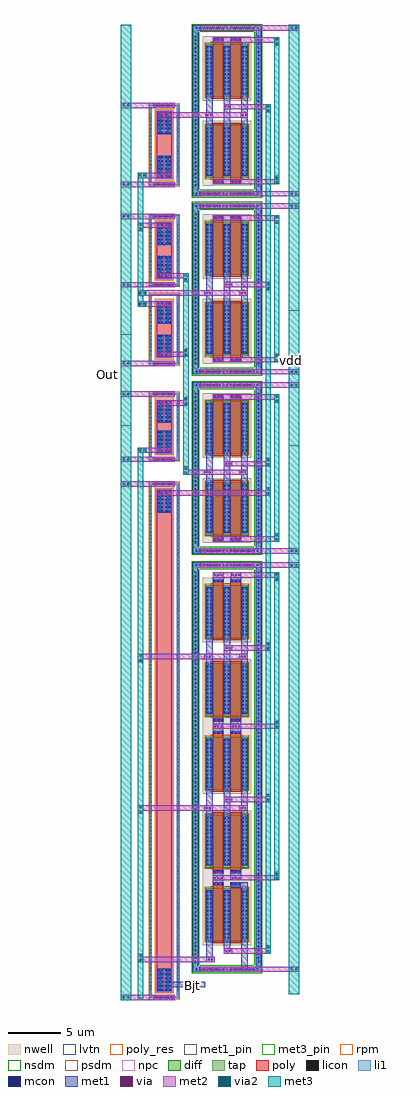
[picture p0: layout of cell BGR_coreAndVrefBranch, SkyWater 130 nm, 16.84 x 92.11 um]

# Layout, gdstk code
from math import pi, radians
import gdstk
lib = gdstk.Library(unit=1e-6, precision=5e-09)
def R(c, l, rs):  # rectangles x0, y0, x1, y1
    for r in rs: c.add(gdstk.rectangle(r[:2], r[2:], *l))
def A(c, l, x, y, w, h, nx, ny, dx, dy):  # array of equal rectangles
    R(c, l, [(x+i*dx, y+j*dy, x+i*dx+w, y+j*dy+h) for i in range(nx) for j in range(ny)])
def P(c, l, *ps):  # polygons
    for p in ps: c.add(gdstk.Polygon(p, *l))
nwell = (64, 20)
diff = (65, 20)
tap = (65, 44)
poly_res = (66, 13)
poly = (66, 20)
licon = (66, 44)
li1 = (67, 20)
mcon = (67, 44)
met1_pin = (68, 16)
met1 = (68, 20)
via = (68, 44)
met2 = (69, 20)
via2 = (69, 44)
met3_pin = (70, 16)
met3 = (70, 20)
rpm = (86, 20)
nsdm = (93, 44)
psdm = (94, 20)
npc = (95, 20)
lvtn = (125, 44)

res_poly_5 = lib.new_cell('res_poly$5')
R(res_poly_5, tap, [(-1.355,-24.31,1.355,-24.14), (-1.355,-24.14,-1.185,24.14), (1.185,-24.14,1.355,24.14), (-1.355,24.14,1.355,24.31)])
R(res_poly_5, poly_res, [(-0.705,-21.56,0.705,21.56)])
R(res_poly_5, poly, [(-0.705,-23.66,0.705,23.66)])
A(res_poly_5, licon, -0.765, -24.31, 0.17, 0.17, 5, 2, 0.34, 48.45)
A(res_poly_5, licon, -1.355, -23.545, 0.17, 0.17, 1, 139, 0, 0.34)
A(res_poly_5, licon, 1.185, -23.545, 0.17, 0.17, 1, 139, 0, 0.34)
R(res_poly_5, licon, [(-0.45,-23.58,-0.26,-21.58), (0.26,-23.58,0.45,-21.58), (-0.45,21.58,-0.26,23.58), (0.26,21.58,0.45,23.58)])
R(res_poly_5, li1, [(-1.355,-24.31,1.355,-24.14), (-1.355,-24.14,-1.185,24.14), (1.185,-24.14,1.355,24.14), (-0.705,-23.66,0.705,-21.5), (-0.705,21.5,0.705,23.66), (-1.355,24.14,1.355,24.31)])
A(res_poly_5, mcon, -0.625, -23.56, 0.17, 0.17, 4, 6, 0.36, 0.36)
A(res_poly_5, mcon, -0.625, 21.595, 0.17, 0.17, 4, 6, 0.36, 0.36)
R(res_poly_5, met1, [(-0.655,-23.63,0.655,-21.525), (-0.655,21.525,0.655,23.63)])
R(res_poly_5, rpm, [(-0.905,-23.86,0.905,23.86)])
R(res_poly_5, psdm, [(-1.48,-24.435,1.48,24.435)])
R(res_poly_5, npc, [(-0.8,-23.755,0.8,23.755)])

guard_ring_gen = lib.new_cell('guard_ring_gen')
P(guard_ring_gen, tap, [(-0.5,-0.5),(-0.5,15.145),(0,15.145),(0,0),(5.44,0),(5.44,15.145),(-0.5,15.145),(-0.5,15.645),(5.94,15.645),(5.94,-0.5)])
A(guard_ring_gen, licon, -0.245, -0.335, 0.17, 0.17, 17, 2, 0.36, 15.645)
A(guard_ring_gen, licon, -0.335, 0.47, 0.17, 0.17, 1, 40, 0, 0.36)
A(guard_ring_gen, licon, 5.605, 0.47, 0.17, 0.17, 1, 40, 0, 0.36)
P(guard_ring_gen, li1, [(-0.5,-0.5),(-0.5,15.145),(0,15.145),(0,0),(5.44,0),(5.44,15.145),(-0.5,15.145),(-0.5,15.645),(5.94,15.645),(5.94,-0.5)])
A(guard_ring_gen, mcon, -0.245, -0.335, 0.17, 0.17, 17, 2, 0.36, 15.645)
A(guard_ring_gen, mcon, -0.335, 0.47, 0.17, 0.17, 1, 40, 0, 0.36)
A(guard_ring_gen, mcon, 5.605, 0.47, 0.17, 0.17, 1, 40, 0, 0.36)
P(guard_ring_gen, met1, [(-0.5,-0.5),(-0.5,15.145),(0,15.145),(0,0),(5.44,0),(5.44,15.145),(-0.5,15.145),(-0.5,15.645),(5.94,15.645),(5.94,-0.5)])
P(guard_ring_gen, nsdm, [(-0.625,-0.625),(-0.625,15.02),(0.125,15.02),(0.125,0.125),(5.315,0.125),(5.315,15.02),(-0.625,15.02),(-0.625,15.77),(6.065,15.77),(6.065,-0.625)])

pfet = lib.new_cell('pfet')
R(pfet, nwell, [(-0.305,-0.38,2.625,5.72)])
R(pfet, diff, [(0,0,2.32,5)])
R(pfet, poly, [(0.66,-0.2,1.66,5.2), (0.66,5.2,1.66,5.53)])
A(pfet, licon, 0.065, 0.255, 0.17, 0.17, 1, 13, 0, 0.36)
A(pfet, licon, 0.425, 0.255, 0.17, 0.17, 1, 13, 0, 0.36)
A(pfet, licon, 1.725, 0.255, 0.17, 0.17, 1, 13, 0, 0.36)
A(pfet, licon, 2.085, 0.255, 0.17, 0.17, 1, 13, 0, 0.36)
A(pfet, licon, 0.715, 5.28, 0.17, 0.17, 3, 1, 0.36, 0)
R(pfet, li1, [(0.065,0.175,0.595,4.825), (1.725,0.175,2.255,4.825), (0.635,5.28,1.685,5.45)])
A(pfet, mcon, 0.065, 0.255, 0.17, 0.17, 1, 13, 0, 0.36)
A(pfet, mcon, 0.425, 0.255, 0.17, 0.17, 1, 13, 0, 0.36)
A(pfet, mcon, 1.725, 0.255, 0.17, 0.17, 1, 13, 0, 0.36)
A(pfet, mcon, 2.085, 0.255, 0.17, 0.17, 1, 13, 0, 0.36)
A(pfet, mcon, 0.715, 5.28, 0.17, 0.17, 3, 1, 0.36, 0)
R(pfet, met1, [(0.035,0.195,0.625,4.805), (1.695,0.195,2.285,4.805), (0.655,5.25,1.665,5.48)])
R(pfet, psdm, [(-0.125,-0.125,2.445,5.125)])
R(pfet, npc, [(0.65,5.19,1.67,5.54)])
R(pfet, lvtn, [(0.48,-0.18,1.84,5.18)])

vias_gen_3 = lib.new_cell('vias_gen$3')
R(vias_gen_3, met2, [(0,0,1,0.5)])
R(vias_gen_3, via2, [(0.2,0.15,0.4,0.35), (0.6,0.15,0.8,0.35)])
R(vias_gen_3, met3, [(0,0,1,0.5)])

vias_gen_2 = lib.new_cell('vias_gen$2')
R(vias_gen_2, met1, [(0,0,5,0.5)])
A(vias_gen_2, via, 0.185, 0.175, 0.15, 0.15, 15, 1, 0.32, 0)
R(vias_gen_2, met2, [(0,0,5,0.5)])

vias_gen_8 = lib.new_cell('vias_gen$8')
R(vias_gen_8, li1, [(0,0,2,0.5)])
A(vias_gen_8, mcon, 0.195, 0.165, 0.17, 0.17, 5, 1, 0.36, 0)
R(vias_gen_8, met1, [(0,0,2,0.5)])
A(vias_gen_8, via, 0.125, 0.175, 0.15, 0.15, 6, 1, 0.32, 0)
R(vias_gen_8, met2, [(0,0,2,0.5)])

res_poly_4 = lib.new_cell('res_poly$4')
R(res_poly_4, tap, [(-1.355,-3.16,1.355,-2.99), (-1.355,-2.99,-1.185,2.99), (1.185,-2.99,1.355,2.99), (-1.355,2.99,1.355,3.16)])
R(res_poly_4, poly_res, [(-0.705,-0.41,0.705,0.41)])
R(res_poly_4, poly, [(-0.705,-2.51,0.705,2.51)])
A(res_poly_4, licon, -0.765, -3.16, 0.17, 0.17, 5, 2, 0.34, 6.15)
A(res_poly_4, licon, -1.355, -2.295, 0.17, 0.17, 1, 14, 0, 0.34)
A(res_poly_4, licon, 1.185, -2.295, 0.17, 0.17, 1, 14, 0, 0.34)
R(res_poly_4, licon, [(-0.45,-2.43,-0.26,-0.43), (0.26,-2.43,0.45,-0.43), (-0.45,0.43,-0.26,2.43), (0.26,0.43,0.45,2.43)])
R(res_poly_4, li1, [(-1.355,-3.16,1.355,-2.99), (-1.355,-2.99,-1.185,2.99), (1.185,-2.99,1.355,2.99), (-0.705,-2.51,0.705,-0.35), (-0.705,0.35,0.705,2.51), (-1.355,2.99,1.355,3.16)])
A(res_poly_4, mcon, -0.625, -2.41, 0.17, 0.17, 4, 6, 0.36, 0.36)
A(res_poly_4, mcon, -0.625, 0.445, 0.17, 0.17, 4, 6, 0.36, 0.36)
R(res_poly_4, met1, [(-0.655,-2.48,0.655,-0.375), (-0.655,0.375,0.655,2.48)])
R(res_poly_4, rpm, [(-0.905,-2.71,0.905,2.71)])
R(res_poly_4, psdm, [(-1.48,-3.285,1.48,3.285)])
R(res_poly_4, npc, [(-0.8,-2.605,0.8,2.605)])

res_poly_3 = lib.new_cell('res_poly$3')
R(res_poly_3, tap, [(-1.355,-3.81,1.355,-3.64), (-1.355,-3.64,-1.185,3.64), (1.185,-3.64,1.355,3.64), (-1.355,3.64,1.355,3.81)])
R(res_poly_3, poly_res, [(-0.705,-1.06,0.705,1.06)])
R(res_poly_3, poly, [(-0.705,-3.16,0.705,3.16)])
A(res_poly_3, licon, -0.765, -3.81, 0.17, 0.17, 5, 2, 0.34, 7.45)
A(res_poly_3, licon, -1.355, -2.975, 0.17, 0.17, 1, 18, 0, 0.34)
A(res_poly_3, licon, 1.185, -2.975, 0.17, 0.17, 1, 18, 0, 0.34)
R(res_poly_3, licon, [(-0.45,-3.08,-0.26,-1.08), (0.26,-3.08,0.45,-1.08), (-0.45,1.08,-0.26,3.08), (0.26,1.08,0.45,3.08)])
R(res_poly_3, li1, [(-1.355,-3.81,1.355,-3.64), (-1.355,-3.64,-1.185,3.64), (1.185,-3.64,1.355,3.64), (-0.705,-3.16,0.705,-1), (-0.705,1,0.705,3.16), (-1.355,3.64,1.355,3.81)])
A(res_poly_3, mcon, -0.625, -3.06, 0.17, 0.17, 4, 6, 0.36, 0.36)
A(res_poly_3, mcon, -0.625, 1.095, 0.17, 0.17, 4, 6, 0.36, 0.36)
R(res_poly_3, met1, [(-0.655,-3.13,0.655,-1.025), (-0.655,1.025,0.655,3.13)])
R(res_poly_3, rpm, [(-0.905,-3.36,0.905,3.36)])
R(res_poly_3, psdm, [(-1.48,-3.935,1.48,3.935)])
R(res_poly_3, npc, [(-0.8,-3.255,0.8,3.255)])

res_poly = lib.new_cell('res_poly')
R(res_poly, tap, [(-1.355,-3.31,1.355,-3.14), (-1.355,-3.14,-1.185,3.14), (1.185,-3.14,1.355,3.14), (-1.355,3.14,1.355,3.31)])
R(res_poly, poly_res, [(-0.705,-0.56,0.705,0.56)])
R(res_poly, poly, [(-0.705,-2.66,0.705,2.66)])
A(res_poly, licon, -0.765, -3.31, 0.17, 0.17, 5, 2, 0.34, 6.45)
A(res_poly, licon, -1.355, -2.465, 0.17, 0.17, 1, 15, 0, 0.34)
A(res_poly, licon, 1.185, -2.465, 0.17, 0.17, 1, 15, 0, 0.34)
R(res_poly, licon, [(-0.45,-2.58,-0.26,-0.58), (0.26,-2.58,0.45,-0.58), (-0.45,0.58,-0.26,2.58), (0.26,0.58,0.45,2.58)])
R(res_poly, li1, [(-1.355,-3.31,1.355,-3.14), (-1.355,-3.14,-1.185,3.14), (1.185,-3.14,1.355,3.14), (-0.705,-2.66,0.705,-0.5), (-0.705,0.5,0.705,2.66), (-1.355,3.14,1.355,3.31)])
A(res_poly, mcon, -0.625, -2.56, 0.17, 0.17, 4, 6, 0.36, 0.36)
A(res_poly, mcon, -0.625, 0.595, 0.17, 0.17, 4, 6, 0.36, 0.36)
R(res_poly, met1, [(-0.655,-2.63,0.655,-0.525), (-0.655,0.525,0.655,2.63)])
R(res_poly, rpm, [(-0.905,-2.86,0.905,2.86)])
R(res_poly, psdm, [(-1.48,-3.435,1.48,3.435)])
R(res_poly, npc, [(-0.8,-2.755,0.8,2.755)])

vias_gen = lib.new_cell('vias_gen')
R(vias_gen, met1, [(0,0,0.64,0.5)])
R(vias_gen, via, [(0.085,0.175,0.235,0.325), (0.405,0.175,0.555,0.325)])
R(vias_gen, met2, [(0,0,0.64,0.5)])

vias_gen_1 = lib.new_cell('vias_gen$1')
R(vias_gen_1, met1, [(0,0,1,0.5)])
A(vias_gen_1, via, 0.105, 0.175, 0.15, 0.15, 3, 1, 0.32, 0)
R(vias_gen_1, met2, [(0,0,1,0.5)])

vias_gen_6 = lib.new_cell('vias_gen$6')
R(vias_gen_6, met2, [(0,0,0.8,0.5)])
R(vias_gen_6, via2, [(0.1,0.15,0.3,0.35), (0.5,0.15,0.7,0.35)])
R(vias_gen_6, met3, [(0,0,0.8,0.5)])

vias_gen_7 = lib.new_cell('vias_gen$7')
R(vias_gen_7, met1, [(0,0,0.8,0.5)])
R(vias_gen_7, via, [(0.165,0.175,0.315,0.325), (0.485,0.175,0.635,0.325)])
R(vias_gen_7, met2, [(0,0,0.8,0.5)])

guard_ring_gen_5 = lib.new_cell('guard_ring_gen$5')
P(guard_ring_gen_5, tap, [(-0.5,-0.5),(-0.5,37.635),(0,37.635),(0,0),(5.44,0),(5.44,37.635),(-0.5,37.635),(-0.5,38.135),(5.94,38.135),(5.94,-0.5)])
A(guard_ring_gen_5, licon, -0.245, -0.335, 0.17, 0.17, 17, 2, 0.36, 38.135)
A(guard_ring_gen_5, licon, -0.335, 0.375, 0.17, 0.17, 1, 103, 0, 0.36)
A(guard_ring_gen_5, licon, 5.605, 0.375, 0.17, 0.17, 1, 103, 0, 0.36)
P(guard_ring_gen_5, li1, [(-0.5,-0.5),(-0.5,37.635),(0,37.635),(0,0),(5.44,0),(5.44,37.635),(-0.5,37.635),(-0.5,38.135),(5.94,38.135),(5.94,-0.5)])
A(guard_ring_gen_5, mcon, -0.245, -0.335, 0.17, 0.17, 17, 2, 0.36, 38.135)
A(guard_ring_gen_5, mcon, -0.335, 0.375, 0.17, 0.17, 1, 103, 0, 0.36)
A(guard_ring_gen_5, mcon, 5.605, 0.375, 0.17, 0.17, 1, 103, 0, 0.36)
P(guard_ring_gen_5, met1, [(-0.5,-0.5),(-0.5,37.635),(0,37.635),(0,0),(5.44,0),(5.44,37.635),(-0.5,37.635),(-0.5,38.135),(5.94,38.135),(5.94,-0.5)])
P(guard_ring_gen_5, nsdm, [(-0.625,-0.625),(-0.625,37.51),(0.125,37.51),(0.125,0.125),(5.315,0.125),(5.315,37.51),(-0.625,37.51),(-0.625,38.26),(6.065,38.26),(6.065,-0.625)])

bgr_coreandvrefbranch = lib.new_cell('BGR_coreAndVrefBranch')
R(bgr_coreandvrefbranch, nwell, [(183.615,128.515,188.205,129.015), (183.615,142.81,188.205,143.31)])
R(bgr_coreandvrefbranch, met1_pin, [(181.87,118.45,183.85,118.95)])
R(bgr_coreandvrefbranch, met3_pin, [(191.73,169.56,192.73,182.345), (175.885,171.405,176.885,180.06)])
R(bgr_coreandvrefbranch, lvtn, [(184.4,122.615,187.42,127.975), (184.4,129.555,187.42,134.915), (184.4,136.91,187.42,142.27), (184.4,143.85,187.42,149.21), (184.4,151.205,187.42,156.565), (184.4,160.935,187.42,166.295), (184.4,168.59,187.42,173.95), (184.4,177.84,187.42,183.2), (184.4,185.495,187.42,190.855), (184.4,194.635,187.42,199.995), (184.4,202.29,187.42,207.65)])
bgr_coreandvrefbranch.add(gdstk.FlexPath([(186.235,128.085),(187.79,128.085)], 0.5, ends="flush", simple_path=True, layer=68, datatype=20))  # met1
bgr_coreandvrefbranch.add(gdstk.FlexPath([(187.57,119.895),(187.57,128.335)], 0.59, ends="flush", simple_path=True, layer=68, datatype=20))  # met1
bgr_coreandvrefbranch.add(gdstk.FlexPath([(179.72,118.7),(183.85,118.7)], 0.5, ends="flush", simple_path=True, layer=68, datatype=20))  # met1
bgr_coreandvrefbranch.add(gdstk.FlexPath([(184.25,173.575),(184.25,161.31)], 0.59, ends="flush", simple_path=True, layer=68, datatype=20))  # met1
bgr_coreandvrefbranch.add(gdstk.FlexPath([(185.91,173.575),(185.91,161.31)], 0.59, ends="flush", simple_path=True, layer=68, datatype=20))  # met1
bgr_coreandvrefbranch.add(gdstk.FlexPath([(187.57,173.575),(187.57,161.31)], 0.59, ends="flush", simple_path=True, layer=68, datatype=20))  # met1
bgr_coreandvrefbranch.add(gdstk.FlexPath([(185.91,190.48),(185.91,178.215)], 0.59, ends="flush", simple_path=True, layer=68, datatype=20))  # met1
bgr_coreandvrefbranch.add(gdstk.FlexPath([(187.57,190.48),(187.57,178.215)], 0.59, ends="flush", simple_path=True, layer=68, datatype=20))  # met1
bgr_coreandvrefbranch.add(gdstk.FlexPath([(184.25,207.275),(184.25,195.01)], 0.59, ends="flush", simple_path=True, layer=68, datatype=20))  # met1
bgr_coreandvrefbranch.add(gdstk.FlexPath([(185.91,207.275),(185.91,195.01)], 0.59, ends="flush", simple_path=True, layer=68, datatype=20))  # met1
bgr_coreandvrefbranch.add(gdstk.FlexPath([(187.57,207.275),(187.57,195.01)], 0.59, ends="flush", simple_path=True, layer=68, datatype=20))  # met1
bgr_coreandvrefbranch.add(gdstk.FlexPath([(184.25,190.48),(184.25,178.215)], 0.59, ends="flush", simple_path=True, layer=68, datatype=20))  # met1
bgr_coreandvrefbranch.add(gdstk.FlexPath([(185.085,156.635),(185.085,157.605)], 1, ends="flush", simple_path=True, layer=68, datatype=20))  # met1
bgr_coreandvrefbranch.add(gdstk.FlexPath([(186.745,156.635),(186.745,157.605)], 1, ends="flush", simple_path=True, layer=68, datatype=20))  # met1
bgr_coreandvrefbranch.add(gdstk.FlexPath([(185.075,143.78),(185.075,142.34)], 1, ends="flush", simple_path=True, layer=68, datatype=20))  # met1
bgr_coreandvrefbranch.add(gdstk.FlexPath([(186.735,143.78),(186.735,142.34)], 1, ends="flush", simple_path=True, layer=68, datatype=20))  # met1
bgr_coreandvrefbranch.add(gdstk.FlexPath([(184.25,156.19),(184.25,144.225)], 0.59, ends="flush", simple_path=True, layer=68, datatype=20))  # met1
bgr_coreandvrefbranch.add(gdstk.FlexPath([(185.91,156.19),(185.91,144.225)], 0.59, ends="flush", simple_path=True, layer=68, datatype=20))  # met1
bgr_coreandvrefbranch.add(gdstk.FlexPath([(187.57,156.19),(187.57,144.225)], 0.59, ends="flush", simple_path=True, layer=68, datatype=20))  # met1
bgr_coreandvrefbranch.add(gdstk.FlexPath([(184.25,141.895),(184.25,129.93)], 0.59, ends="flush", simple_path=True, layer=68, datatype=20))  # met1
bgr_coreandvrefbranch.add(gdstk.FlexPath([(185.91,141.895),(185.91,129.93)], 0.59, ends="flush", simple_path=True, layer=68, datatype=20))  # met1
bgr_coreandvrefbranch.add(gdstk.FlexPath([(187.57,141.895),(187.57,129.93)], 0.59, ends="flush", simple_path=True, layer=68, datatype=20))  # met1
bgr_coreandvrefbranch.add(gdstk.FlexPath([(184.25,127.6),(184.25,120.82)], 0.59, ends="flush", simple_path=True, layer=68, datatype=20))  # met1
bgr_coreandvrefbranch.add(gdstk.FlexPath([(185.91,127.6),(185.91,121.62)], 0.59, ends="flush", simple_path=True, layer=68, datatype=20))  # met1
bgr_coreandvrefbranch.add(gdstk.FlexPath([(185.075,129.485),(185.075,128.045)], 1, ends="flush", simple_path=True, layer=68, datatype=20))  # met1
bgr_coreandvrefbranch.add(gdstk.FlexPath([(186.735,129.485),(186.735,128.515)], 1, ends="flush", simple_path=True, layer=68, datatype=20))  # met1
bgr_coreandvrefbranch.add(gdstk.FlexPath([(183.41,208.965),(192.73,208.965)], 0.5, ends="flush", simple_path=True, layer=69, datatype=20))  # met2
bgr_coreandvrefbranch.add(gdstk.FlexPath([(183.41,193.32),(192.73,193.32)], 0.5, ends="flush", simple_path=True, layer=69, datatype=20))  # met2
bgr_coreandvrefbranch.add(gdstk.FlexPath([(183.41,192.17),(192.73,192.17)], 0.5, ends="flush", simple_path=True, layer=69, datatype=20))  # met2
bgr_coreandvrefbranch.add(gdstk.FlexPath([(183.41,176.525),(192.73,176.525)], 0.5, ends="flush", simple_path=True, layer=69, datatype=20))  # met2
bgr_coreandvrefbranch.add(gdstk.FlexPath([(183.41,175.265),(192.73,175.265)], 0.5, ends="flush", simple_path=True, layer=69, datatype=20))  # met2
bgr_coreandvrefbranch.add(gdstk.FlexPath([(183.41,159.62),(192.73,159.62)], 0.5, ends="flush", simple_path=True, layer=69, datatype=20))  # met2
bgr_coreandvrefbranch.add(gdstk.FlexPath([(183.41,158.28),(192.73,158.28)], 0.5, ends="flush", simple_path=True, layer=69, datatype=20))  # met2
bgr_coreandvrefbranch.add(gdstk.FlexPath([(183.41,120.145),(192.73,120.145)], 0.5, ends="flush", simple_path=True, layer=69, datatype=20))  # met2
bgr_coreandvrefbranch.add(gdstk.FlexPath([(180.985,201.655),(175.885,201.655)], 0.5, ends="flush", simple_path=True, layer=69, datatype=20))  # met2
bgr_coreandvrefbranch.add(gdstk.FlexPath([(180.985,194.205),(175.885,194.205)], 0.5, ends="flush", simple_path=True, layer=69, datatype=20))  # met2
bgr_coreandvrefbranch.add(gdstk.FlexPath([(180.985,191.185),(175.885,191.185)], 0.5, ends="flush", simple_path=True, layer=69, datatype=20))  # met2
bgr_coreandvrefbranch.add(gdstk.FlexPath([(180.985,184.735),(175.885,184.735)], 0.5, ends="flush", simple_path=True, layer=69, datatype=20))  # met2
bgr_coreandvrefbranch.add(gdstk.FlexPath([(180.985,177.31),(175.885,177.31)], 0.5, ends="flush", simple_path=True, layer=69, datatype=20))  # met2
bgr_coreandvrefbranch.add(gdstk.FlexPath([(180.985,174.415),(175.885,174.415)], 0.5, ends="flush", simple_path=True, layer=69, datatype=20))  # met2
bgr_coreandvrefbranch.add(gdstk.FlexPath([(180.985,168.265),(175.885,168.265)], 0.5, ends="flush", simple_path=True, layer=69, datatype=20))  # met2
bgr_coreandvrefbranch.add(gdstk.FlexPath([(180.985,165.935),(175.885,165.935)], 0.5, ends="flush", simple_path=True, layer=69, datatype=20))  # met2
bgr_coreandvrefbranch.add(gdstk.FlexPath([(180.985,117.485),(175.885,117.485)], 0.5, ends="flush", simple_path=True, layer=69, datatype=20))  # met2
bgr_coreandvrefbranch.add(gdstk.FlexPath([(185.615,201.54),(190.055,201.54)], 0.5, ends="flush", simple_path=True, layer=69, datatype=20))  # met2
bgr_coreandvrefbranch.add(gdstk.FlexPath([(185.615,184.745),(190.055,184.745)], 0.5, ends="flush", simple_path=True, layer=69, datatype=20))  # met2
bgr_coreandvrefbranch.add(gdstk.FlexPath([(185.615,167.84),(190.055,167.84)], 0.5, ends="flush", simple_path=True, layer=69, datatype=20))  # met2
bgr_coreandvrefbranch.add(gdstk.FlexPath([(185.615,150.46),(190.055,150.46)], 0.5, ends="flush", simple_path=True, layer=69, datatype=20))  # met2
bgr_coreandvrefbranch.add(gdstk.FlexPath([(185.615,136.165),(190.055,136.165)], 0.5, ends="flush", simple_path=True, layer=69, datatype=20))  # met2
bgr_coreandvrefbranch.add(gdstk.FlexPath([(185.615,121.87),(190.055,121.87)], 0.5, ends="flush", simple_path=True, layer=69, datatype=20))  # met2
bgr_coreandvrefbranch.add(gdstk.FlexPath([(179.33,165.09),(190.055,165.09)], 0.5, ends="flush", simple_path=True, layer=69, datatype=20))  # met2
bgr_coreandvrefbranch.add(gdstk.FlexPath([(184.575,207.835),(190.855,207.835)], 0.5, ends="flush", simple_path=True, layer=69, datatype=20))  # met2
bgr_coreandvrefbranch.add(gdstk.FlexPath([(184.575,194.45),(190.855,194.45)], 0.5, ends="flush", simple_path=True, layer=69, datatype=20))  # met2
bgr_coreandvrefbranch.add(gdstk.FlexPath([(184.575,191.04),(190.855,191.04)], 0.5, ends="flush", simple_path=True, layer=69, datatype=20))  # met2
bgr_coreandvrefbranch.add(gdstk.FlexPath([(184.575,177.655),(190.855,177.655)], 0.5, ends="flush", simple_path=True, layer=69, datatype=20))  # met2
bgr_coreandvrefbranch.add(gdstk.FlexPath([(184.575,174.135),(190.855,174.135)], 0.5, ends="flush", simple_path=True, layer=69, datatype=20))  # met2
bgr_coreandvrefbranch.add(gdstk.FlexPath([(184.575,160.75),(190.855,160.75)], 0.5, ends="flush", simple_path=True, layer=69, datatype=20))  # met2
bgr_coreandvrefbranch.add(gdstk.FlexPath([(184.585,157.355),(190.855,157.355)], 0.5, ends="flush", simple_path=True, layer=69, datatype=20))  # met2
bgr_coreandvrefbranch.add(gdstk.FlexPath([(184.575,143.06),(190.855,143.06)], 0.5, ends="flush", simple_path=True, layer=69, datatype=20))  # met2
bgr_coreandvrefbranch.add(gdstk.FlexPath([(190.855,128.765),(184.575,128.765)], 0.5, ends="flush", simple_path=True, layer=69, datatype=20))  # met2
bgr_coreandvrefbranch.add(gdstk.FlexPath([(179.33,200.745),(187.865,200.745)], 0.5, ends="flush", simple_path=True, layer=69, datatype=20))  # met2
bgr_coreandvrefbranch.add(gdstk.FlexPath([(177.505,183.95),(187.865,183.95)], 0.5, ends="flush", simple_path=True, layer=69, datatype=20))  # met2
bgr_coreandvrefbranch.add(gdstk.FlexPath([(181.785,167.045),(187.865,167.045)], 0.5, ends="flush", simple_path=True, layer=69, datatype=20))  # met2
bgr_coreandvrefbranch.add(gdstk.FlexPath([(182.285,178.165),(179.36,178.165)], 0.5, ends="flush", simple_path=True, layer=69, datatype=20))  # met2
bgr_coreandvrefbranch.add(gdstk.FlexPath([(177.505,195.05),(180.64,195.05)], 0.5, ends="flush", simple_path=True, layer=69, datatype=20))  # met2
bgr_coreandvrefbranch.add(gdstk.FlexPath([(177.505,190.34),(180.64,190.34)], 0.5, ends="flush", simple_path=True, layer=69, datatype=20))  # met2
bgr_coreandvrefbranch.add(gdstk.FlexPath([(177.505,182.915),(180.64,182.915)], 0.5, ends="flush", simple_path=True, layer=69, datatype=20))  # met2
bgr_coreandvrefbranch.add(gdstk.FlexPath([(179.33,185.58),(182.285,185.58)], 0.5, ends="flush", simple_path=True, layer=69, datatype=20))  # met2
bgr_coreandvrefbranch.add(gdstk.FlexPath([(182.255,173.565),(179.33,173.565)], 0.5, ends="flush", simple_path=True, layer=69, datatype=20))  # met2
bgr_coreandvrefbranch.add(gdstk.FlexPath([(177.505,149.66),(187.865,149.66)], 0.5, ends="flush", simple_path=True, layer=69, datatype=20))  # met2
bgr_coreandvrefbranch.add(gdstk.FlexPath([(177.505,135.365),(187.865,135.365)], 0.5, ends="flush", simple_path=True, layer=69, datatype=20))  # met2
bgr_coreandvrefbranch.add(gdstk.FlexPath([(177.505,121.07),(184.755,121.07)], 0.5, ends="flush", simple_path=True, layer=69, datatype=20))  # met2
bgr_coreandvrefbranch.add(gdstk.FlexPath([(180.64,169.11),(177.505,169.11)], 0.5, ends="flush", simple_path=True, layer=69, datatype=20))  # met2
bgr_coreandvrefbranch.add(gdstk.FlexPath([(192.23,209.265),(192.23,117.785)], 1, ends="flush", simple_path=True, layer=70, datatype=20))  # met3
bgr_coreandvrefbranch.add(gdstk.FlexPath([(176.385,209.265),(176.385,117.235)], 1, ends="flush", simple_path=True, layer=70, datatype=20))  # met3
bgr_coreandvrefbranch.add(gdstk.FlexPath([(189.805,201.79),(189.805,121.62)], 0.5, ends="flush", simple_path=True, layer=70, datatype=20))  # met3
bgr_coreandvrefbranch.add(gdstk.FlexPath([(190.605,208.085),(190.605,194.2)], 0.5, ends="flush", simple_path=True, layer=70, datatype=20))  # met3
bgr_coreandvrefbranch.add(gdstk.FlexPath([(190.605,191.29),(190.605,177.405)], 0.5, ends="flush", simple_path=True, layer=70, datatype=20))  # met3
bgr_coreandvrefbranch.add(gdstk.FlexPath([(190.605,174.385),(190.605,160.5)], 0.5, ends="flush", simple_path=True, layer=70, datatype=20))  # met3
bgr_coreandvrefbranch.add(gdstk.FlexPath([(190.605,157.605),(190.605,128.515)], 0.5, ends="flush", simple_path=True, layer=70, datatype=20))  # met3
bgr_coreandvrefbranch.add(gdstk.FlexPath([(182.035,185.83),(182.035,166.795)], 0.5, ends="flush", simple_path=True, layer=70, datatype=20))  # met3
bgr_coreandvrefbranch.add(gdstk.FlexPath([(177.755,195.3),(177.755,182.665)], 0.5, ends="flush", simple_path=True, layer=70, datatype=20))  # met3
bgr_coreandvrefbranch.add(gdstk.FlexPath([(177.755,169.36),(177.755,117.365)], 0.5, ends="flush", simple_path=True, layer=70, datatype=20))  # met3
bgr_coreandvrefbranch.add(gdstk.Reference(res_poly_5, (179.985,141.71), x_reflection=True))
bgr_coreandvrefbranch.add(gdstk.Reference(guard_ring_gen, (183.19,159.87)))
bgr_coreandvrefbranch.add(gdstk.Reference(pfet, (187.9,166.115), rotation=pi))
bgr_coreandvrefbranch.add(gdstk.Reference(pfet, (186.24,166.115), rotation=pi))
bgr_coreandvrefbranch.add(gdstk.Reference(vias_gen_3, (191.73,208.715)))
bgr_coreandvrefbranch.add(gdstk.Reference(vias_gen_2, (188.41,193.57), rotation=pi))
bgr_coreandvrefbranch.add(gdstk.Reference(vias_gen_3, (191.73,193.07)))
bgr_coreandvrefbranch.add(gdstk.Reference(vias_gen_2, (188.41,192.42), rotation=pi))
bgr_coreandvrefbranch.add(gdstk.Reference(vias_gen_3, (191.73,191.92)))
bgr_coreandvrefbranch.add(gdstk.Reference(vias_gen_2, (188.41,176.775), rotation=pi))
bgr_coreandvrefbranch.add(gdstk.Reference(vias_gen_3, (191.73,176.275)))
bgr_coreandvrefbranch.add(gdstk.Reference(vias_gen_2, (188.41,175.515), rotation=pi))
bgr_coreandvrefbranch.add(gdstk.Reference(vias_gen_3, (191.73,175.015)))
bgr_coreandvrefbranch.add(gdstk.Reference(vias_gen_2, (188.41,209.215), rotation=pi))
bgr_coreandvrefbranch.add(gdstk.Reference(pfet, (187.9,185.675), rotation=pi, x_reflection=True))
bgr_coreandvrefbranch.add(gdstk.Reference(pfet, (186.24,183.02), rotation=pi))
bgr_coreandvrefbranch.add(gdstk.Reference(vias_gen_8, (180.985,201.905), rotation=pi))
bgr_coreandvrefbranch.add(gdstk.Reference(vias_gen_3, (175.885,201.405)))
bgr_coreandvrefbranch.add(gdstk.Reference(vias_gen_8, (180.985,194.455), rotation=pi))
bgr_coreandvrefbranch.add(gdstk.Reference(vias_gen_3, (175.885,193.955)))
bgr_coreandvrefbranch.add(gdstk.Reference(vias_gen_8, (180.985,191.435), rotation=pi))
bgr_coreandvrefbranch.add(gdstk.Reference(vias_gen_3, (175.885,190.935)))
bgr_coreandvrefbranch.add(gdstk.Reference(vias_gen_8, (180.985,184.985), rotation=pi))
bgr_coreandvrefbranch.add(gdstk.Reference(vias_gen_3, (175.885,184.485)))
bgr_coreandvrefbranch.add(gdstk.Reference(pfet, (187.9,168.77), rotation=pi, x_reflection=True))
bgr_coreandvrefbranch.add(gdstk.Reference(pfet, (187.9,183.02), rotation=pi))
bgr_coreandvrefbranch.add(gdstk.Reference(vias_gen_3, (175.885,177.06)))
bgr_coreandvrefbranch.add(gdstk.Reference(res_poly_4, (179.985,171.34)))
bgr_coreandvrefbranch.add(gdstk.Reference(vias_gen_8, (180.985,177.56), rotation=pi))
bgr_coreandvrefbranch.add(gdstk.Reference(res_poly_3, (179.985,197.93)))
bgr_coreandvrefbranch.add(gdstk.Reference(res_poly, (179.985,180.535)))
bgr_coreandvrefbranch.add(gdstk.Reference(vias_gen_3, (175.885,174.165)))
bgr_coreandvrefbranch.add(gdstk.Reference(vias_gen_8, (180.985,174.665), rotation=pi))
bgr_coreandvrefbranch.add(gdstk.Reference(vias_gen_3, (175.885,168.015)))
bgr_coreandvrefbranch.add(gdstk.Reference(vias_gen_8, (180.985,168.515), rotation=pi))
bgr_coreandvrefbranch.add(gdstk.Reference(vias_gen_3, (175.885,165.685)))
bgr_coreandvrefbranch.add(gdstk.Reference(vias_gen_8, (180.985,166.185), rotation=pi))
bgr_coreandvrefbranch.add(gdstk.Reference(res_poly, (179.985,187.96)))
bgr_coreandvrefbranch.add(gdstk.Reference(pfet, (187.9,199.815), rotation=pi))
bgr_coreandvrefbranch.add(gdstk.Reference(pfet, (186.24,202.47), rotation=pi, x_reflection=True))
bgr_coreandvrefbranch.add(gdstk.Reference(pfet, (187.9,202.47), rotation=pi, x_reflection=True))
bgr_coreandvrefbranch.add(gdstk.Reference(pfet, (186.24,199.815), rotation=pi))
bgr_coreandvrefbranch.add(gdstk.Reference(vias_gen, (184.545,200.995), rotation=pi))
bgr_coreandvrefbranch.add(gdstk.Reference(vias_gen, (187.865,200.995), rotation=pi))
bgr_coreandvrefbranch.add(gdstk.Reference(vias_gen, (186.255,201.79), rotation=pi))
bgr_coreandvrefbranch.add(gdstk.Reference(vias_gen_1, (180.33,200.995), rotation=pi))
bgr_coreandvrefbranch.add(gdstk.Reference(vias_gen_6, (181.785,185.83), rotation=3*pi/2))
bgr_coreandvrefbranch.add(gdstk.Reference(vias_gen_6, (181.785,178.715), rotation=3*pi/2))
bgr_coreandvrefbranch.add(gdstk.Reference(vias_gen_1, (180.64,190.59), rotation=pi))
bgr_coreandvrefbranch.add(gdstk.Reference(vias_gen_1, (180.33,178.415), rotation=pi))
bgr_coreandvrefbranch.add(gdstk.Reference(vias_gen_6, (178.305,195.3), rotation=pi))
bgr_coreandvrefbranch.add(gdstk.Reference(vias_gen_1, (180.64,195.3), rotation=pi))
bgr_coreandvrefbranch.add(gdstk.Reference(vias_gen_6, (177.505,190.59), rotation=3*pi/2))
bgr_coreandvrefbranch.add(gdstk.Reference(vias_gen_1, (180.64,183.165), rotation=pi))
bgr_coreandvrefbranch.add(gdstk.Reference(vias_gen_6, (178.305,183.165), rotation=pi))
bgr_coreandvrefbranch.add(gdstk.Reference(vias_gen_1, (180.33,185.83), rotation=pi))
bgr_coreandvrefbranch.add(gdstk.Reference(vias_gen_6, (181.785,174.115), rotation=3*pi/2))
bgr_coreandvrefbranch.add(gdstk.Reference(vias_gen_1, (180.33,173.815), rotation=pi))
bgr_coreandvrefbranch.add(gdstk.Reference(vias_gen_1, (185.575,208.085), rotation=pi))
bgr_coreandvrefbranch.add(gdstk.Reference(guard_ring_gen, (183.19,193.57)))
bgr_coreandvrefbranch.add(gdstk.Reference(vias_gen_1, (187.235,208.085), rotation=pi))
bgr_coreandvrefbranch.add(gdstk.Reference(vias_gen_1, (185.575,194.7), rotation=pi))
bgr_coreandvrefbranch.add(gdstk.Reference(vias_gen_1, (187.235,194.7), rotation=pi))
bgr_coreandvrefbranch.add(gdstk.Reference(vias_gen_1, (185.575,191.29), rotation=pi))
bgr_coreandvrefbranch.add(gdstk.Reference(vias_gen_7, (186.415,184.995), rotation=pi))
bgr_coreandvrefbranch.add(gdstk.Reference(vias_gen_1, (187.235,191.29), rotation=pi))
bgr_coreandvrefbranch.add(gdstk.Reference(vias_gen_7, (184.545,184.2), rotation=pi))
bgr_coreandvrefbranch.add(gdstk.Reference(vias_gen_7, (187.865,184.2), rotation=pi))
bgr_coreandvrefbranch.add(gdstk.Reference(vias_gen_1, (185.58,177.905), rotation=pi))
bgr_coreandvrefbranch.add(gdstk.Reference(vias_gen_1, (187.24,177.905), rotation=pi))
bgr_coreandvrefbranch.add(gdstk.Reference(vias_gen_1, (185.575,174.385), rotation=pi))
bgr_coreandvrefbranch.add(gdstk.Reference(vias_gen_1, (187.24,174.385), rotation=pi))
bgr_coreandvrefbranch.add(gdstk.Reference(vias_gen_7, (186.415,168.09), rotation=pi))
bgr_coreandvrefbranch.add(gdstk.Reference(vias_gen_7, (184.545,167.295), rotation=pi))
bgr_coreandvrefbranch.add(gdstk.Reference(vias_gen_7, (187.865,167.295), rotation=pi))
bgr_coreandvrefbranch.add(gdstk.Reference(vias_gen_6, (178.305,184.2), rotation=pi))
bgr_coreandvrefbranch.add(gdstk.Reference(vias_gen_6, (181.785,167.595), rotation=3*pi/2))
bgr_coreandvrefbranch.add(gdstk.Reference(vias_gen_1, (180.64,169.36), rotation=pi))
bgr_coreandvrefbranch.add(gdstk.Reference(vias_gen_6, (178.305,169.36), rotation=pi))
bgr_coreandvrefbranch.add(gdstk.Reference(vias_gen_6, (190.055,200.99), rotation=pi/2))
bgr_coreandvrefbranch.add(gdstk.Reference(vias_gen_1, (180.33,165.34), rotation=pi))
bgr_coreandvrefbranch.add(gdstk.Reference(vias_gen_6, (190.055,184.195), rotation=pi/2))
bgr_coreandvrefbranch.add(gdstk.Reference(vias_gen_6, (190.055,167.59), rotation=pi/2))
bgr_coreandvrefbranch.add(gdstk.Reference(vias_gen_6, (190.055,164.84), rotation=pi/2))
bgr_coreandvrefbranch.add(gdstk.Reference(vias_gen_6, (190.855,207.285), rotation=pi/2))
bgr_coreandvrefbranch.add(gdstk.Reference(vias_gen_6, (190.855,194.2), rotation=pi/2))
bgr_coreandvrefbranch.add(gdstk.Reference(vias_gen_6, (190.855,190.49), rotation=pi/2))
bgr_coreandvrefbranch.add(gdstk.Reference(vias_gen_6, (190.855,177.405), rotation=pi/2))
bgr_coreandvrefbranch.add(gdstk.Reference(vias_gen_6, (190.855,173.585), rotation=pi/2))
bgr_coreandvrefbranch.add(gdstk.Reference(pfet, (186.24,185.675), rotation=pi, x_reflection=True))
bgr_coreandvrefbranch.add(gdstk.Reference(guard_ring_gen, (183.19,176.775)))
bgr_coreandvrefbranch.add(gdstk.Reference(pfet, (186.24,168.77), rotation=pi, x_reflection=True))
bgr_coreandvrefbranch.add(gdstk.Reference(vias_gen_8, (180.985,117.735), rotation=pi))
bgr_coreandvrefbranch.add(gdstk.Reference(vias_gen_3, (191.73,158.03)))
bgr_coreandvrefbranch.add(gdstk.Reference(vias_gen_2, (188.41,120.395), rotation=pi))
bgr_coreandvrefbranch.add(gdstk.Reference(vias_gen_3, (191.73,119.895)))
bgr_coreandvrefbranch.add(gdstk.Reference(vias_gen_3, (191.73,159.37)))
bgr_coreandvrefbranch.add(gdstk.Reference(vias_gen_2, (188.41,159.87), rotation=pi))
bgr_coreandvrefbranch.add(gdstk.Reference(vias_gen_2, (188.41,158.53), rotation=pi))
bgr_coreandvrefbranch.add(gdstk.Reference(vias_gen_3, (175.885,117.235)))
bgr_coreandvrefbranch.add(gdstk.Reference(vias_gen_1, (187.245,157.605), rotation=pi))
bgr_coreandvrefbranch.add(gdstk.Reference(vias_gen_1, (185.575,143.31), rotation=pi))
bgr_coreandvrefbranch.add(gdstk.Reference(vias_gen_1, (187.235,143.31), rotation=pi))
bgr_coreandvrefbranch.add(gdstk.Reference(vias_gen_1, (187.235,129.015), rotation=pi))
bgr_coreandvrefbranch.add(gdstk.Reference(vias_gen_1, (185.575,129.015), rotation=pi))
bgr_coreandvrefbranch.add(gdstk.Reference(vias_gen_7, (186.415,150.71), rotation=pi))
bgr_coreandvrefbranch.add(gdstk.Reference(vias_gen_7, (184.545,149.91), rotation=pi))
bgr_coreandvrefbranch.add(gdstk.Reference(vias_gen_7, (187.865,149.91), rotation=pi))
bgr_coreandvrefbranch.add(gdstk.Reference(vias_gen_7, (186.415,136.415), rotation=pi))
bgr_coreandvrefbranch.add(gdstk.Reference(vias_gen_7, (184.545,135.615), rotation=pi))
bgr_coreandvrefbranch.add(gdstk.Reference(vias_gen_7, (187.865,135.615), rotation=pi))
bgr_coreandvrefbranch.add(gdstk.Reference(vias_gen_7, (186.415,122.12), rotation=pi))
bgr_coreandvrefbranch.add(gdstk.Reference(vias_gen_7, (184.755,121.32), rotation=pi))
bgr_coreandvrefbranch.add(gdstk.Reference(pfet, (187.9,134.735), rotation=pi))
bgr_coreandvrefbranch.add(gdstk.Reference(vias_gen_6, (177.505,149.11), rotation=pi/2, x_reflection=True))
bgr_coreandvrefbranch.add(gdstk.Reference(vias_gen_6, (177.505,134.815), rotation=pi/2, x_reflection=True))
bgr_coreandvrefbranch.add(gdstk.Reference(vias_gen_6, (177.505,120.82), rotation=pi/2, x_reflection=True))
bgr_coreandvrefbranch.add(gdstk.Reference(pfet, (187.9,149.03), rotation=pi))
bgr_coreandvrefbranch.add(gdstk.Reference(pfet, (186.24,149.03), rotation=pi))
bgr_coreandvrefbranch.add(gdstk.Reference(vias_gen_1, (185.575,161), rotation=pi))
bgr_coreandvrefbranch.add(gdstk.Reference(vias_gen_6, (190.055,150.21), rotation=pi/2))
bgr_coreandvrefbranch.add(gdstk.Reference(vias_gen_6, (190.055,135.915), rotation=pi/2))
bgr_coreandvrefbranch.add(gdstk.Reference(vias_gen_6, (190.055,121.62), rotation=pi/2))
bgr_coreandvrefbranch.add(gdstk.Reference(pfet, (185.58,122.795)))
bgr_coreandvrefbranch.add(gdstk.Reference(pfet, (186.24,151.385), rotation=pi, x_reflection=True))
bgr_coreandvrefbranch.add(gdstk.Reference(pfet, (183.92,122.795)))
bgr_coreandvrefbranch.add(gdstk.Reference(pfet, (186.24,134.735), rotation=pi))
bgr_coreandvrefbranch.add(gdstk.Reference(vias_gen_6, (190.855,160.5), rotation=pi/2))
bgr_coreandvrefbranch.add(gdstk.Reference(vias_gen_6, (190.855,156.805), rotation=pi/2))
bgr_coreandvrefbranch.add(gdstk.Reference(vias_gen_6, (190.855,142.81), rotation=pi/2))
bgr_coreandvrefbranch.add(gdstk.Reference(vias_gen_6, (190.855,128.515), rotation=pi/2))
bgr_coreandvrefbranch.add(gdstk.Reference(pfet, (187.9,151.385), rotation=pi, x_reflection=True))
bgr_coreandvrefbranch.add(gdstk.Reference(vias_gen_1, (187.235,161), rotation=pi))
bgr_coreandvrefbranch.add(gdstk.Reference(pfet, (187.9,137.09), rotation=pi, x_reflection=True))
bgr_coreandvrefbranch.add(gdstk.Reference(pfet, (186.24,137.09), rotation=pi, x_reflection=True))
bgr_coreandvrefbranch.add(gdstk.Reference(guard_ring_gen_5, (183.19,120.395)))
bgr_coreandvrefbranch.add(gdstk.Reference(vias_gen_1, (185.585,157.605), rotation=pi))
bgr_coreandvrefbranch.add(gdstk.Label('Bjt', (182.675,118.625), layer=68, texttype=16))
bgr_coreandvrefbranch.add(gdstk.Label('vdd', (192.035,177.57), layer=70, texttype=16))
bgr_coreandvrefbranch.add(gdstk.Label('Out', (174.665,176.235), layer=70, texttype=16))

lib.write_gds('BGR_coreAndVrefBranch.gds')
